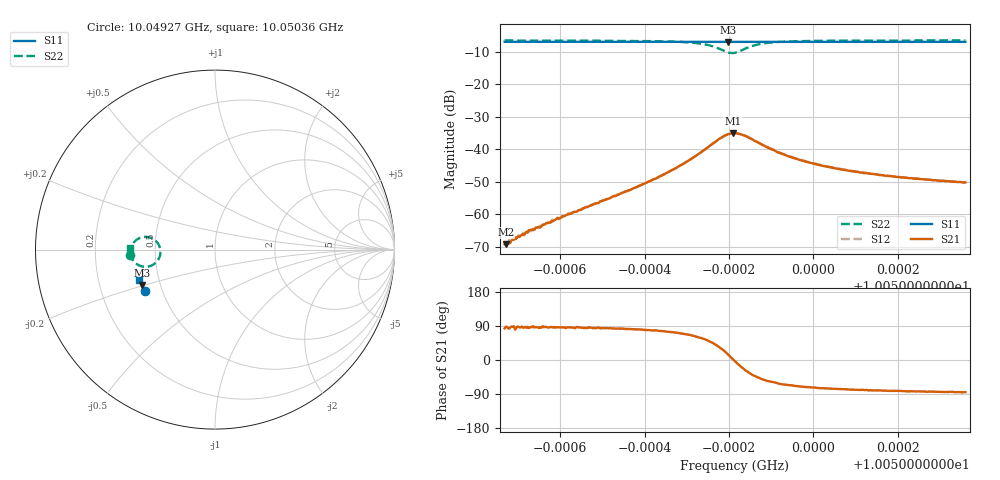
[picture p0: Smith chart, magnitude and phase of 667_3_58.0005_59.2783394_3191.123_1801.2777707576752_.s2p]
#  HZ  S  RI  R  50.00
! Rohde & Schwarz Vector Network Analyzer
! Rohde-Schwarz,ZNB20-2Port,1311601062101988,3.16
! Created: UTC 3/21/2024, 1:20:12 AM
! freq[Hz]  re:S11  im:S11  re:S21  im:S21  re:S12  im:S12  re:S22  im:S22
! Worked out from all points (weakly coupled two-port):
!   401 points, 10.04927 GHz to 10.05036 GHz, reference 50 ohm
!   highest |S21| = -34.99 dB at 10.04981 GHz (marker M1); lowest = -69.3 dB at 10.04927 GHz (marker M2)
!   lowest |S11| = -6.9 dB at 10.0498 GHz (marker M3), VSWR 2.65, Z = 19.8 - j9.91 ohm
!   |S11| at or under -10 dB: nowhere
!   |S22| runs from -10.3 to -6.5 dB; largest |S21 - S12| = 0.0014
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1.0049268e10  -0.391 -0.2315  3.84e-05 0.000346  1.37e-05 0.000322  -0.4739 -0.0287
1.0049271e10  -0.391 -0.2313  1.37e-05 0.000343  -1.39e-05 0.00035  -0.474 -0.0284
1.0049282e10  -0.3915 -0.2306  2.32e-05 0.000361  -1.6e-05 0.000389  -0.474 -0.0274
1.0049331e10  -0.3931 -0.2278  2.33e-05 0.000578  1.31e-05 0.000557  -0.4737 -0.0225
1.0049353e10  -0.3937 -0.2264  3.83e-05 0.000626  -2.34e-05 0.000662  -0.4737 -0.0201
1.0049364e10  -0.3942 -0.2257  2.52e-05 0.000697  -1.47e-05 0.000711  -0.4737 -0.0188
1.0049451e10  -0.3969 -0.2206  0.000109 0.00118  2.3e-05 0.0012  -0.4725 -0.00845
1.0049563e10  -0.4002 -0.2139  0.000327 0.0023  0.000202 0.00234  -0.4686 0.00927
1.0049634e10  -0.4022 -0.2096  0.000855 0.00366  0.000661 0.00372  -0.4617 0.0262
1.0049689e10  -0.4038 -0.2063  0.00203 0.00546  0.00171 0.00559  -0.4479 0.0452
1.0049735e10  -0.4047 -0.2032  0.0049 0.00773  0.00439 0.00799  -0.4169 0.0657
1.0049771e10  -0.4051 -0.2009  0.0105 0.0084  0.00983 0.00907  -0.3626 0.0673
1.0049798e10  -0.405 -0.1995  0.0167 0.00433  0.0162 0.00538  -0.3109 0.0215
1.0049809e10  -0.4052 -0.1992  0.0178 0.000863  0.0176 0.00222  -0.3038 -0.0119
1.0049814e10  -0.4054 -0.1992  0.0176 -0.000936  0.0177 0.000305  -0.3054 -0.0291
1.0049844e10  -0.4064 -0.1981  0.0132 -0.00801  0.0138 -0.00716  -0.3576 -0.0904
1.0049883e10  -0.4081 -0.1962  0.00705 -0.00909  0.00773 -0.00858  -0.4192 -0.0896
1.004994e10  -0.4103 -0.1925  0.00319 -0.00717  0.00371 -0.00704  -0.4542 -0.0633
1.0049997e10  -0.4118 -0.189  0.00185 -0.00581  0.00224 -0.00574  -0.4658 -0.044
1.0050082e10  -0.414 -0.1839  0.000988 -0.00461  0.00131 -0.00459  -0.4719 -0.0255
1.005018e10  -0.4165 -0.1777  0.000569 -0.00383  0.000835 -0.0038  -0.4743 -0.0108
1.005036e10  -0.4208 -0.1666  0.000276 -0.00309  0.000444 -0.00308  -0.4754 0.00887
